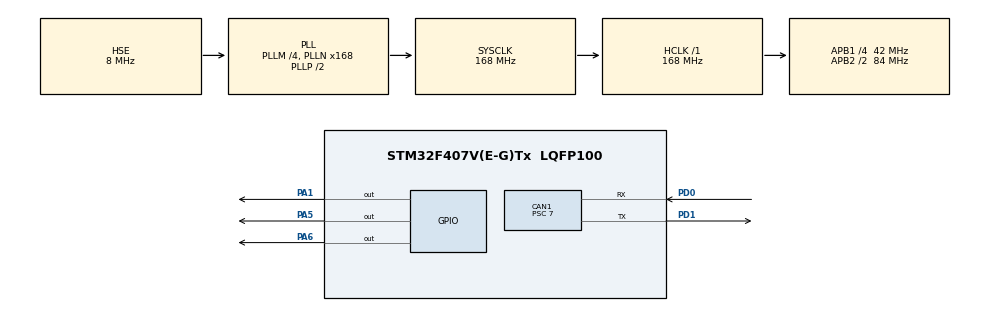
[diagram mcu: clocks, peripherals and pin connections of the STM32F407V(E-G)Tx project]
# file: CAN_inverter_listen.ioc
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CAN1.BS1=CAN_BS1_5TQ
CAN1.BS2=CAN_BS2_6TQ
CAN1.CalculateTimeQuantum=166.66666666666669
CAN1.Prescaler=7
Mcu.Family=STM32F4
Mcu.Name=STM32F407V(E-G)Tx
Mcu.Package=LQFP100
NVIC.CAN1_RX0_IRQn=true\:0\:0\:false\:false\:true\:true\:true
NVIC.PriorityGroup=NVIC_PRIORITYGROUP_4
PA1.Signal=GPIO_Output
PA5.Signal=GPIO_Output
PA6.Signal=GPIO_Output
PD0.Mode=Master
PD0.Signal=CAN1_RX
PD1.Mode=Master
PD1.Signal=CAN1_TX
PH0-OSC_IN.Mode=HSE-External-Oscillator
PH0-OSC_IN.Signal=RCC_OSC_IN
PH1-OSC_OUT.Mode=HSE-External-Oscillator
PH1-OSC_OUT.Signal=RCC_OSC_OUT
ProjectManager.HeapSize=0x200
ProjectManager.StackSize=0x400
ProjectManager.TargetToolchain=MDK-ARM V5.27
RCC.48MHZClocksFreq_Value=84000000
RCC.AHBFreq_Value=168000000
RCC.APB1CLKDivider=RCC_HCLK_DIV4
RCC.APB1Freq_Value=42000000
RCC.APB1TimFreq_Value=84000000
RCC.APB2CLKDivider=RCC_HCLK_DIV2
RCC.APB2Freq_Value=84000000
RCC.APB2TimFreq_Value=168000000
RCC.CortexFreq_Value=168000000
RCC.HCLKFreq_Value=168000000
RCC.HSE_VALUE=8000000
RCC.HSI_VALUE=16000000
RCC.LSE_VALUE=32768
RCC.PLLM=4
RCC.PLLN=168
RCC.PLLSourceVirtual=RCC_PLLSOURCE_HSE
RCC.SYSCLKFreq_VALUE=168000000
RCC.SYSCLKSource=RCC_SYSCLKSOURCE_PLLCLK
RCC.VCOOutputFreq_Value=336000000
board=custom

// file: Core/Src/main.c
/* USER CODE BEGIN Header */
/**
  ******************************************************************************
  * @file           : main.c
  * @brief          : Main program body
  ******************************************************************************
  * @attention
  *
  * <h2><center>&copy; Copyright (c) 2021 STMicroelectronics.
  * All rights reserved.</center></h2>
  *
  * This software component is licensed by ST under BSD 3-Clause license,
  * the "License"; You may not use this file except in compliance with the
  * License. You may obtain a copy of the License at:
  *                        opensource.org/licenses/BSD-3-Clause
  *
  ******************************************************************************
  */
/* USER CODE END Header */
#include "main.h"
#include "can.h"
#include "gpio.h"

/* USER CODE BEGIN PV */
//Tx and Rx structure
static CAN_TxHeaderTypeDef TxMessage;
static CAN_RxHeaderTypeDef RxMessage;

//Rx Txdata
uint8_t TxData[8]={0};
uint32_t TxMailbox;
uint8_t RxData[8]={0};

//address
uint16_t OwnID=0x123;
uint16_t RemoteID =0x0A0;
uint16_t Received_ID;
/* USER CODE END PV */

void SystemClock_Config(void);
/* USER CODE BEGIN PFP */
void CAN_filterConfig(void);
void CAN_Txsetup(void);
/* USER CODE END PFP */

int main(void)
{

  /* MCU Configuration--------------------------------------------------------*/

  /* Reset of all peripherals, Initializes the Flash interface and the Systick. */
  HAL_Init();

  /* Configure the system clock */
  SystemClock_Config();

  /* Initialize all configured peripherals */
  MX_GPIO_Init();
  MX_CAN1_Init();
  /* USER CODE BEGIN 2 */
	CAN_filterConfig();
	CAN_Txsetup();
  /* USER CODE END 2 */

  /* Infinite loop */
  while (1)
  {
		//HAL_GPIO_WritePin(GPIOA,GPIO_PIN_1,GPIO_PIN_SET);
  }
}

void SystemClock_Config(void)
{
  RCC_OscInitTypeDef RCC_OscInitStruct = {0};
  RCC_ClkInitTypeDef RCC_ClkInitStruct = {0};

  /** Configure the main internal regulator output voltage
  */
  __HAL_RCC_PWR_CLK_ENABLE();
  __HAL_PWR_VOLTAGESCALING_CONFIG(PWR_REGULATOR_VOLTAGE_SCALE1);
  /** Initializes the RCC Oscillators according to the specified parameters
  * in the RCC_OscInitTypeDef structure.
  */
  RCC_OscInitStruct.OscillatorType = RCC_OSCILLATORTYPE_HSE;
  RCC_OscInitStruct.HSEState = RCC_HSE_ON;
  RCC_OscInitStruct.PLL.PLLState = RCC_PLL_ON;
  RCC_OscInitStruct.PLL.PLLSource = RCC_PLLSOURCE_HSE;
  RCC_OscInitStruct.PLL.PLLM = 4;
  RCC_OscInitStruct.PLL.PLLN = 168;
  RCC_OscInitStruct.PLL.PLLP = RCC_PLLP_DIV2;
  RCC_OscInitStruct.PLL.PLLQ = 4;
  if (HAL_RCC_OscConfig(&RCC_OscInitStruct) != HAL_OK)
  {
    Error_Handler();
  }
  /** Initializes the CPU, AHB and APB buses clocks
  */
  RCC_ClkInitStruct.ClockType = RCC_CLOCKTYPE_HCLK|RCC_CLOCKTYPE_SYSCLK
                              |RCC_CLOCKTYPE_PCLK1|RCC_CLOCKTYPE_PCLK2;
  RCC_ClkInitStruct.SYSCLKSource = RCC_SYSCLKSOURCE_PLLCLK;
  RCC_ClkInitStruct.AHBCLKDivider = RCC_SYSCLK_DIV1;
  RCC_ClkInitStruct.APB1CLKDivider = RCC_HCLK_DIV4;
  RCC_ClkInitStruct.APB2CLKDivider = RCC_HCLK_DIV2;

  if (HAL_RCC_ClockConfig(&RCC_ClkInitStruct, FLASH_LATENCY_5) != HAL_OK)
  {
    Error_Handler();
  }
}

/* USER CODE BEGIN 4 */
void CAN_filterConfig(void){
	CAN_FilterTypeDef filterConfig;

	filterConfig.FilterBank=0;
	filterConfig.FilterActivation=ENABLE;
	filterConfig.FilterFIFOAssignment=CAN_RX_FIFO0;
	filterConfig.FilterIdHigh=0x0000;
	filterConfig.FilterIdLow=0x0000;
	filterConfig.FilterMaskIdHigh=0x0000;
	filterConfig.FilterMaskIdLow=0x0000;
	filterConfig.FilterMode=CAN_FILTERMODE_IDMASK;
	filterConfig.FilterScale= CAN_FILTERSCALE_32BIT;
	filterConfig.SlaveStartFilterBank=14;

	if(HAL_CAN_ConfigFilter(&hcan1,&filterConfig)!=HAL_OK){
		Error_Handler();
	}

	if(HAL_CAN_ActivateNotification(&hcan1,CAN_IT_RX_FIFO0_MSG_PENDING)){
		Error_Handler();
	}		//enable interrupt

}
void CAN_Txsetup(){
		if(HAL_CAN_Start(&hcan1)!=HAL_OK){
		Error_Handler();
		}

		TxMessage.StdId=RemoteID;
		TxMessage.ExtId=0x01;
		TxMessage.RTR=CAN_RTR_DATA;
		TxMessage.IDE=CAN_ID_STD;
		TxMessage.DLC=2;
		TxMessage.TransmitGlobalTime=DISABLE;   //time trigger must be turned ON

		TxData[0]=0xAC;
		TxData[1]=0x01;
		HAL_GPIO_WritePin(GPIOA,GPIO_PIN_6,GPIO_PIN_SET);
}

void HAL_CAN_RxFifo0MsgPendingCallback(CAN_HandleTypeDef *hcan){
	if(HAL_CAN_GetRxMessage(hcan,CAN_RX_FIFO0,&RxMessage,RxData)!=HAL_OK){
		Error_Handler();
	}
	Received_ID=RxMessage.StdId;
	HAL_GPIO_TogglePin(GPIOA,GPIO_PIN_1);
}
/* USER CODE END 4 */

void Error_Handler(void)
{
}

/************************ (C) COPYRIGHT STMicroelectronics *****END OF FILE****/
